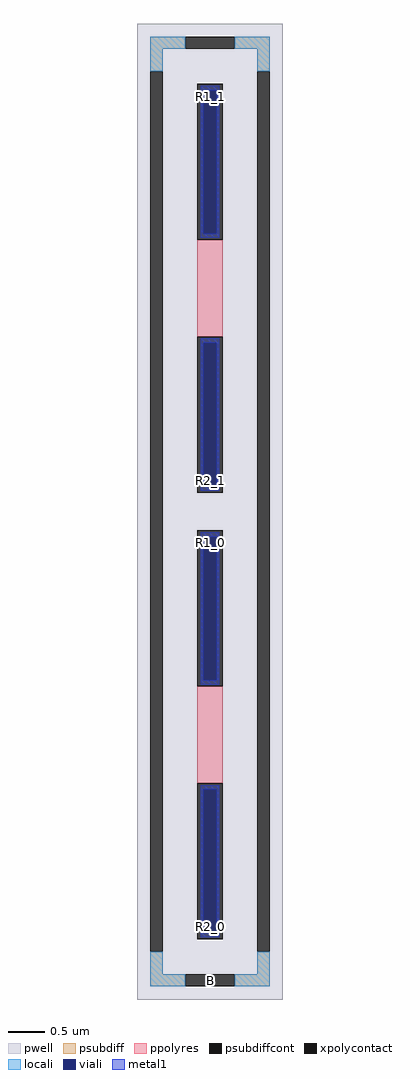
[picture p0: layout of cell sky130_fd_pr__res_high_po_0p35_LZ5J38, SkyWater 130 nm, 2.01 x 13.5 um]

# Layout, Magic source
magic
tech sky130A
magscale 1 2
<< pwell >>
rect -201 -1350 201 1350
<< psubdiff >>
rect -165 1280 -69 1314
rect 69 1280 165 1314
rect -165 1218 -131 1280
rect 131 1218 165 1280
rect -165 -1280 -131 -1218
rect 131 -1280 165 -1218
rect -165 -1314 -69 -1280
rect 69 -1314 165 -1280
<< psubdiffcont >>
rect -69 1280 69 1314
rect -165 -1218 -131 1218
rect 131 -1218 165 1218
rect -69 -1314 69 -1280
<< xpolycontact >>
rect -35 752 35 1184
rect -35 52 35 484
rect -35 -484 35 -52
rect -35 -1184 35 -752
<< ppolyres >>
rect -35 484 35 752
rect -35 -752 35 -484
<< locali >>
rect -165 1280 -69 1314
rect 69 1280 165 1314
rect -165 1218 -131 1280
rect 131 1218 165 1280
rect -165 -1280 -131 -1218
rect 131 -1280 165 -1218
rect -165 -1314 -69 -1280
rect 69 -1314 165 -1280
<< viali >>
rect -19 769 19 1166
rect -19 70 19 467
rect -19 -467 19 -70
rect -19 -1166 19 -769
<< metal1 >>
rect -25 1166 25 1178
rect -25 769 -19 1166
rect 19 769 25 1166
rect -25 757 25 769
rect -25 467 25 479
rect -25 70 -19 467
rect 19 70 25 467
rect -25 58 25 70
rect -25 -70 25 -58
rect -25 -467 -19 -70
rect 19 -467 25 -70
rect -25 -479 25 -467
rect -25 -769 25 -757
rect -25 -1166 -19 -769
rect 19 -1166 25 -769
rect -25 -1178 25 -1166
<< labels >>
rlabel psubdiffcont 0 -1297 0 -1297 0 B
port 1 nsew
rlabel xpolycontact 0 -87 0 -87 0 R1_0
port 2 nsew
rlabel xpolycontact 0 -1149 0 -1149 0 R2_0
port 3 nsew
rlabel xpolycontact 0 1149 0 1149 0 R1_1
port 4 nsew
rlabel xpolycontact 0 87 0 87 0 R2_1
port 5 nsew
<< properties >>
string FIXED_BBOX -148 -1297 148 1297
string gencell sky130_fd_pr__res_high_po_0p35
string library sky130
string parameters w 0.35 l 1.5 m 2 nx 1 wmin 0.350 lmin 0.50 class resistor rho 319.8 val 2.483k dummy 0 dw 0.0 term 194.82 sterm 0.0 caplen 0 guard 1 glc 1 grc 1 gtc 1 gbc 1 compatible {sky130_fd_pr__res_high_po_0p35  sky130_fd_pr__res_high_po_0p69 sky130_fd_pr__res_high_po_1p41  sky130_fd_pr__res_high_po_2p85 sky130_fd_pr__res_high_po_5p73} snake 1 full_metal 1 wmax 0.350 vias 1 n_guard 0 hv_guard 0 viagb 0 viagt 0 viagl 0 viagr 0 doports 1
<< end >>
